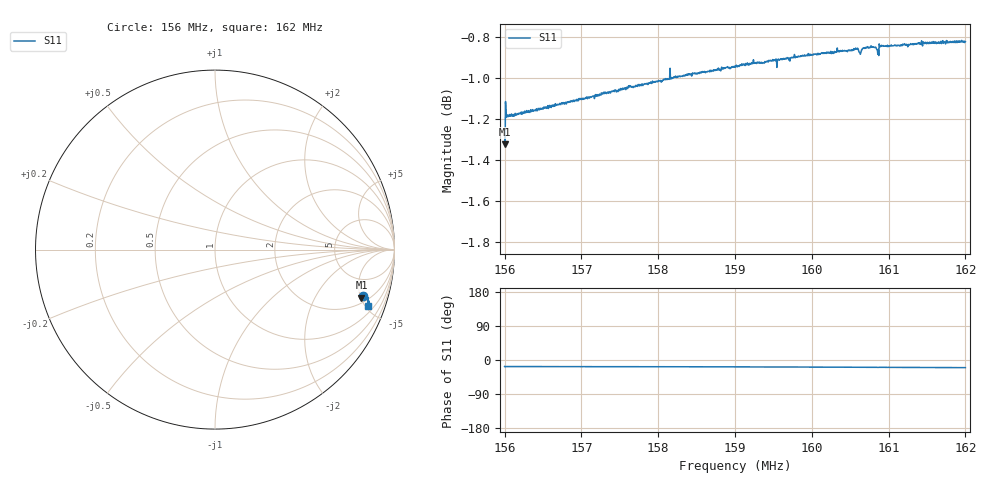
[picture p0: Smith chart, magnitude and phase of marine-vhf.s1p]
! Calibrated averaged scanner-service zoom
# Hz S RI R 50
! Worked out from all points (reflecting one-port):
!   1001 points, 156 MHz to 162 MHz, reference 50 ohm
!   lowest |S11| = -1.3 dB at 156.01 MHz (marker M1), VSWR 13.16, Z = 125 - j254 ohm
!   phase of S11 starts at -17 deg and turns -3 deg over the sweep
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1.56e8  0.825 -0.2563
1.56006e8  0.8161 -0.2672
1.56036e8  0.8329 -0.2608
1.56042e8  0.833 -0.2611
1.56054e8  0.8323 -0.261
1.56126e8  0.8328 -0.2605
1.5675e8  0.8389 -0.2621
1.575e8  0.844 -0.2659
1.58022e8  0.8477 -0.2703
1.58184e8  0.8485 -0.2716
1.5819e8  0.8488 -0.2718
1.5825e8  0.8493 -0.2726
1.59e8  0.8525 -0.2796
1.5924e8  0.8548 -0.2826
1.59552e8  0.8536 -0.2851
1.5975e8  0.8545 -0.287
1.605e8  0.8556 -0.2955
1.60572e8  0.8563 -0.2966
1.60626e8  0.8544 -0.2941
1.60686e8  0.8559 -0.298
1.60776e8  0.8564 -0.2993
1.60806e8  0.8557 -0.2994
1.60842e8  0.8545 -0.3005
1.60866e8  0.853 -0.3037
1.60908e8  0.8563 -0.3008
1.6125e8  0.8542 -0.3046
1.61478e8  0.8555 -0.3075
1.62e8  0.8538 -0.3133
